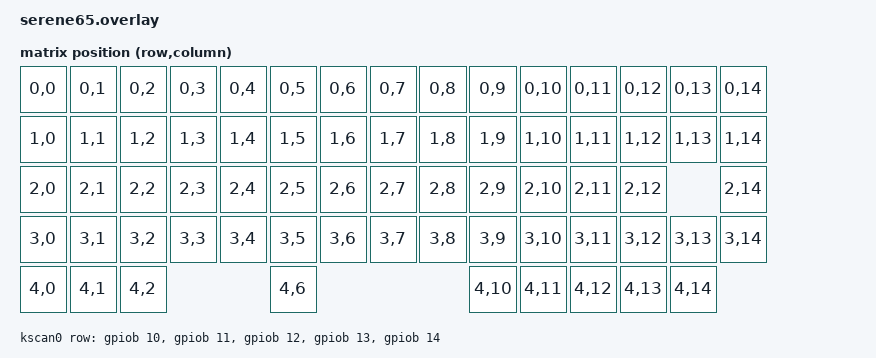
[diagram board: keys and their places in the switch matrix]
/*
 * Copyright (c) 2025 Matthijs Muller
 *
 * SPDX-License-Identifier: MIT
 */

/ {
    chosen {
        zmk,kscan = &kscan0;
        zmk,matrix = &matrix_transform;
    };

    kscan0: kscan {
        compatible = "zmk,kscan-gpio-matrix";
        label = "KSCAN";
        status = "okay";

        diode-direction = "col2row";
        row-gpios
            = <&gpiob 10 (GPIO_ACTIVE_HIGH | GPIO_PULL_DOWN)>
            , <&gpiob 11 (GPIO_ACTIVE_HIGH | GPIO_PULL_DOWN)>
            , <&gpiob 12 (GPIO_ACTIVE_HIGH | GPIO_PULL_DOWN)>
            , <&gpiob 13 (GPIO_ACTIVE_HIGH | GPIO_PULL_DOWN)>
            , <&gpiob 14 (GPIO_ACTIVE_HIGH | GPIO_PULL_DOWN)>
            ;
    };

    matrix_transform: matrix_transform {
        compatible = "zmk,matrix-transform";
        rows = <5>;
        columns = <15>;
        map = <
            RC(0,0) RC(0,1) RC(0,2) RC(0,3) RC(0,4) RC(0,5) RC(0,6) RC(0,7) RC(0,8) RC(0,9) RC(0,10) RC(0,11) RC(0,12) RC(0,13) RC(0,14)
            RC(1,0) RC(1,1) RC(1,2) RC(1,3) RC(1,4) RC(1,5) RC(1,6) RC(1,7) RC(1,8) RC(1,9) RC(1,10) RC(1,11) RC(1,12) RC(1,13) RC(1,14)
            RC(2,0) RC(2,1) RC(2,2) RC(2,3) RC(2,4) RC(2,5) RC(2,6) RC(2,7) RC(2,8) RC(2,9) RC(2,10) RC(2,11) RC(2,12)          RC(2,14)
            RC(3,0) RC(3,1) RC(3,2) RC(3,3) RC(3,4) RC(3,5) RC(3,6) RC(3,7) RC(3,8) RC(3,9) RC(3,10) RC(3,11) RC(3,12) RC(3,13) RC(3,14)
            RC(4,0) RC(4,1) RC(4,2)                 RC(4,6)                         RC(4,10) RC(4,11) RC(4,12) RC(4,13) RC(4,14)
        >;
    };
};

&gpioa {
    status = "okay";
};

&gpiob {
    status = "okay";
};

&gpioc {
    status = "okay";
};

&adc1 {
    status = "okay";
    pinctrl-0 = <&adc1_in3_pa3>;
    pinctrl-names = "default";
    st,adc-prescaler = <2>;
    #address-cells = <1>;
    #size-cells = <0>;
    
    /* Make certain ADC is configured for STM32 */
    compatible = "st,stm32-adc";
    
    /* Add this to explicitly set up the channel */
    channel@3 {
        reg = <3>;
        zephyr,gain = "ADC_GAIN_1";
        zephyr,reference = "ADC_REF_INTERNAL";
        zephyr,acquisition-time = <ADC_ACQ_TIME_DEFAULT>;
        zephyr,resolution = <12>;
    };
};

&spi2 {
    status = "okay";
    pinctrl-0 = <&spi2_sck_pb13 &spi2_mosi_pb15>;
    pinctrl-names = "default";
};

&zephyr_udc0 {
    status = "okay";
    cdc_acm_uart0: cdc_acm_uart0 {
        compatible = "zephyr,cdc-acm-uart";
    };
};

/ {
    chosen {
        zephyr,console = &cdc_acm_uart0;
    };
};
